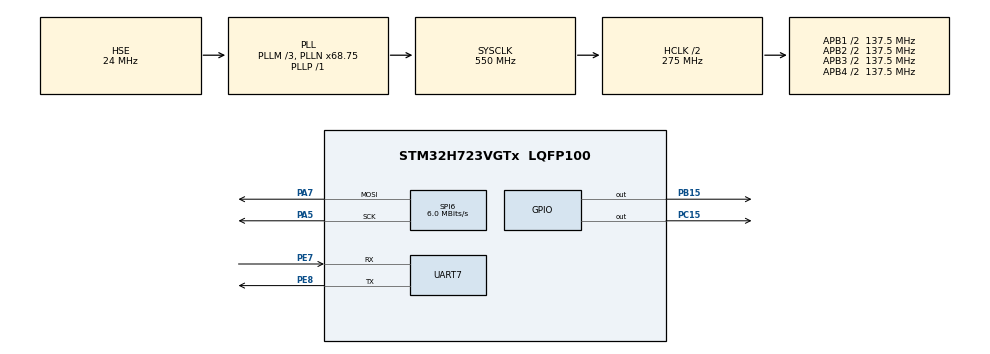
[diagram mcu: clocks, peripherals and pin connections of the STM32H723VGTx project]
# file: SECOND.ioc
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CORTEX_M7.CPU_ICache=Enabled
CORTEX_M7.MPU_Control=__NULL
CORTEX_M7.default_mode_Activation=1
Mcu.Family=STM32H7
Mcu.Name=STM32H723VGTx
Mcu.Package=LQFP100
NVIC.PriorityGroup=NVIC_PRIORITYGROUP_4
NVIC.UART7_IRQn=true\:0\:0\:false\:false\:true\:true\:true\:true
PA13(JTMS/SWDIO).Mode=Serial_Wire
PA13(JTMS/SWDIO).Signal=DEBUG_JTMS-SWDIO
PA14(JTCK/SWCLK).Mode=Serial_Wire
PA14(JTCK/SWCLK).Signal=DEBUG_JTCK-SWCLK
PA5.Mode=TX_Only_Simplex_Unidirect_Master
PA5.Signal=SPI6_SCK
PA7.Mode=TX_Only_Simplex_Unidirect_Master
PA7.Signal=SPI6_MOSI
PB15.Signal=GPIO_Output
PC15-OSC32_OUT.GPIO_PuPd=GPIO_PULLUP
PC15-OSC32_OUT.Signal=GPIO_Output
PE2.Signal=USART10_RX
PE3.Signal=USART10_TX
PE7.Mode=Asynchronous
PE7.Signal=UART7_RX
PE8.Mode=Asynchronous
PE8.Signal=UART7_TX
PH0-OSC_IN.Mode=HSE-External-Oscillator
PH0-OSC_IN.Signal=RCC_OSC_IN
PH1-OSC_OUT.Mode=HSE-External-Oscillator
PH1-OSC_OUT.Signal=RCC_OSC_OUT
ProjectManager.HeapSize=0x200
ProjectManager.StackSize=0x400
ProjectManager.TargetToolchain=CMake
RCC.ADCFreq_Value=48375000
RCC.APB1Freq_Value=137500000
RCC.APB2Freq_Value=137500000
RCC.APB3Freq_Value=137500000
RCC.APB4Freq_Value=137500000
RCC.CortexFreq_Value=550000000
RCC.D1PPRE=RCC_APB3_DIV2
RCC.D2PPRE1=RCC_APB1_DIV2
RCC.D2PPRE2=RCC_APB2_DIV2
RCC.D3PPRE=RCC_APB4_DIV2
RCC.DIVM1=3
RCC.DIVN1=68
RCC.DIVP1=1
RCC.HCLKFreq_Value=275000000
RCC.HPRE=RCC_HCLK_DIV2
RCC.HSE_VALUE=24000000
RCC.PLLFRACN=6144
RCC.PLLSourceVirtual=RCC_PLLSOURCE_HSE
RCC.SPI6CLockSelection=RCC_SPI6CLKSOURCE_HSE
RCC.SYSCLKFreq_VALUE=550000000
RCC.SYSCLKSource=RCC_SYSCLKSOURCE_PLLCLK
RCC.USBFreq_Value=275000000
SPI6.BaudRatePrescaler=SPI_BAUDRATEPRESCALER_4
SPI6.CLKPhase=SPI_PHASE_2EDGE
SPI6.CalculateBaudRate=6.0 MBits/s
SPI6.DataSize=SPI_DATASIZE_8BIT
SPI6.Direction=SPI_DIRECTION_2LINES_TXONLY
SPI6.Mode=SPI_MODE_MASTER
SPI6.NSSPMode=SPI_NSS_PULSE_DISABLE
SPI6.VirtualType=VM_MASTER
VP_MEMORYMAP_VS_MEMORYMAP.Mode=CurAppReg
board=custom

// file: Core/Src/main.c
/* USER CODE BEGIN Header */
/**
  ******************************************************************************
  * @file           : main.c
  * @brief          : Main program body
  ******************************************************************************
  * @attention
  *
  * Copyright (c) 2026 STMicroelectronics.
  * All rights reserved.
  *
  * This software is licensed under terms that can be found in the LICENSE file
  * in the root directory of this software component.
  * If no LICENSE file comes with this software, it is provided AS-IS.
  *
  ******************************************************************************
  */
/* USER CODE END Header */
#include "main.h"
#include "spi.h"
#include "usart.h"
#include "gpio.h"

/* USER CODE BEGIN Includes */
#include <string.h>

#include "ws2812.h"
/* USER CODE END Includes */

/* USER CODE BEGIN PV */
char receive[] = "a";
char receive2[] = "b";
/* USER CODE END PV */

void SystemClock_Config(void);

/* USER CODE BEGIN 0 */
void HAL_UART_RxCpltCallback(UART_HandleTypeDef *huart) {
  HAL_UART_Transmit_IT(&huart7, (uint8_t *)receive2, strlen(receive2));

  HAL_UART_Receive_IT(&huart7, (uint8_t *)receive, strlen(receive));
}
/* USER CODE END 0 */

int main(void)
{

  /* Enable the CPU Cache */

  /* Enable I-Cache---------------------------------------------------------*/
  SCB_EnableICache();

  /* MCU Configuration--------------------------------------------------------*/

  /* Reset of all peripherals, Initializes the Flash interface and the Systick. */
  HAL_Init();

  /* Configure the system clock */
  SystemClock_Config();

  /* Initialize all configured peripherals */
  MX_GPIO_Init();
  MX_SPI6_Init();
  MX_UART7_Init();
  /* USER CODE BEGIN 2 */
  HAL_UART_Receive_IT(&huart7, (uint8_t *)receive, strlen(receive));
  /* USER CODE END 2 */

  /* Infinite loop */
  /* USER CODE BEGIN WHILE */
  while (1)
  {
    //红->绿
    for (int i=0; i<=255; i++) {
      WS2812_Ctrl(255-i,i,0);
      HAL_Delay(1);
    }
    //绿->蓝
    for (int i=0; i<=255; i++) {
      WS2812_Ctrl(0,255-i,i);
      HAL_Delay(1);
    }
    //蓝->红
    for (int i=0; i<=255; i++) {
      WS2812_Ctrl(i,0,255-i);
      HAL_Delay(1);
    }

    // HAL_GPIO_TogglePin(GPIOB, GPIO_PIN_15);
    // HAL_GPIO_WritePin(GPIOC, GPIO_PIN_15, GPIO_PIN_SET);
    // HAL_Delay(100);

    /* USER CODE END WHILE */

  }
}

void SystemClock_Config(void)
{
  RCC_OscInitTypeDef RCC_OscInitStruct = {0};
  RCC_ClkInitTypeDef RCC_ClkInitStruct = {0};

  /** Supply configuration update enable
  */
  HAL_PWREx_ConfigSupply(PWR_LDO_SUPPLY);

  /** Configure the main internal regulator output voltage
  */
  __HAL_PWR_VOLTAGESCALING_CONFIG(PWR_REGULATOR_VOLTAGE_SCALE0);

  while(!__HAL_PWR_GET_FLAG(PWR_FLAG_VOSRDY)) {}

  /** Initializes the RCC Oscillators according to the specified parameters
  * in the RCC_OscInitTypeDef structure.
  */
  RCC_OscInitStruct.OscillatorType = RCC_OSCILLATORTYPE_HSE;
  RCC_OscInitStruct.HSEState = RCC_HSE_ON;
  RCC_OscInitStruct.PLL.PLLState = RCC_PLL_ON;
  RCC_OscInitStruct.PLL.PLLSource = RCC_PLLSOURCE_HSE;
  RCC_OscInitStruct.PLL.PLLM = 3;
  RCC_OscInitStruct.PLL.PLLN = 68;
  RCC_OscInitStruct.PLL.PLLP = 1;
  RCC_OscInitStruct.PLL.PLLQ = 2;
  RCC_OscInitStruct.PLL.PLLR = 2;
  RCC_OscInitStruct.PLL.PLLRGE = RCC_PLL1VCIRANGE_3;
  RCC_OscInitStruct.PLL.PLLVCOSEL = RCC_PLL1VCOWIDE;
  RCC_OscInitStruct.PLL.PLLFRACN = 6144;
  if (HAL_RCC_OscConfig(&RCC_OscInitStruct) != HAL_OK)
  {
    Error_Handler();
  }

  /** Initializes the CPU, AHB and APB buses clocks
  */
  RCC_ClkInitStruct.ClockType = RCC_CLOCKTYPE_HCLK|RCC_CLOCKTYPE_SYSCLK
                              |RCC_CLOCKTYPE_PCLK1|RCC_CLOCKTYPE_PCLK2
                              |RCC_CLOCKTYPE_D3PCLK1|RCC_CLOCKTYPE_D1PCLK1;
  RCC_ClkInitStruct.SYSCLKSource = RCC_SYSCLKSOURCE_PLLCLK;
  RCC_ClkInitStruct.SYSCLKDivider = RCC_SYSCLK_DIV1;
  RCC_ClkInitStruct.AHBCLKDivider = RCC_HCLK_DIV2;
  RCC_ClkInitStruct.APB3CLKDivider = RCC_APB3_DIV2;
  RCC_ClkInitStruct.APB1CLKDivider = RCC_APB1_DIV2;
  RCC_ClkInitStruct.APB2CLKDivider = RCC_APB2_DIV2;
  RCC_ClkInitStruct.APB4CLKDivider = RCC_APB4_DIV2;

  if (HAL_RCC_ClockConfig(&RCC_ClkInitStruct, FLASH_LATENCY_3) != HAL_OK)
  {
    Error_Handler();
  }
}

void Error_Handler(void)
{
  __disable_irq();
  while (1)
  {
  }
}
